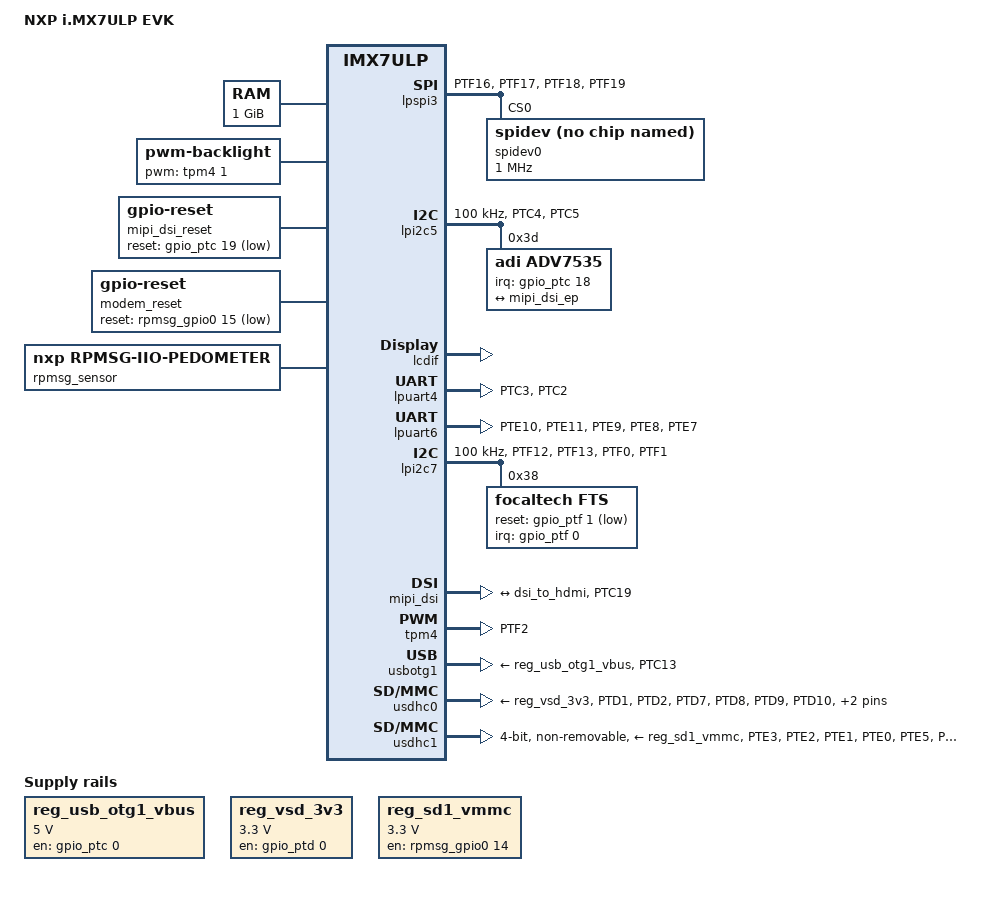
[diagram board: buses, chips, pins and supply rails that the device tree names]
// SPDX-License-Identifier: GPL-2.0+
/*
 * Copyright 2016 Freescale Semiconductor, Inc.
 * Copyright 2017-2018 NXP
 *   Dong Aisheng <aisheng.dong@nxp.com>
 */

/dts-v1/;

#include "imx7ulp.dtsi"
#include <dt-bindings/input/input.h>

/ {
	model = "NXP i.MX7ULP EVK";
	compatible = "fsl,imx7ulp-evk", "fsl,imx7ulp";

	aliases {
		gpio4 = &rpmsg_gpio0;
		gpio5 = &rpmsg_gpio1;
	};

	chosen {
		stdout-path = &lpuart4;
	};

	memory@60000000 {
		device_type = "memory";
		reg = <0x60000000 0x40000000>;
	};

	reserved-memory {
		#address-cells = <1>;
		#size-cells = <1>;
		ranges;

		rsc_table: rsc-table@1fff8000{
			reg = <0x1fff8000 0x1000>;
			no-map;
		};

		vdev0vring0: vdev0vring0@9ff00000 {
			reg = <0x9ff00000 0x8000>;
			no-map;
		};
		vdev0vring1: vdev0vring1@9ff08000 {
			reg = <0x9ff08000 0x8000>;
			no-map;
		};
		vdev1vring0: vdev1vring0@9ff10000 {
			reg = <0x9ff10000 0x8000>;
			no-map;
		};
		vdev1vring1: vdev1vring1@9ff18000 {
			reg = <0x9ff18000 0x8000>;
			no-map;
		};
		vdev1vring3 {
			reg = <0x9ff20000 0xe0000>;
			no-map;
		};
	};

	backlight {
		compatible = "pwm-backlight";
		pwms = <&tpm4 1 50000 0>;
		brightness-levels = <0 20 25 30 35 40 100>;
		default-brightness-level = <6>;
		status = "okay";
	};

	mipi_dsi_reset: mipi-dsi-reset {
		compatible = "gpio-reset";
		reset-gpios = <&gpio_ptc 19 GPIO_ACTIVE_LOW>;
		reset-delay-us = <1000>;
		#reset-cells = <0>;
	};

	modem_reset: modem-reset {
		compatible = "gpio-reset";
		reset-gpios = <&rpmsg_gpio0 15 GPIO_ACTIVE_LOW>;
		reset-delay-us = <1000>;
		#reset-cells = <0>;
	};

	pf1550-rpmsg {
		compatible = "fsl,pf1550-rpmsg";
		sw1_reg: SW1 {
				regulator-name = "SW1";
				regulator-min-microvolt = <600000>;
				regulator-max-microvolt = <1387500>;
				regulator-boot-on;
				regulator-always-on;
		};

		sw2_reg: SW2 {
				regulator-name = "SW2";
				regulator-min-microvolt = <600000>;
				regulator-max-microvolt = <1387500>;
				regulator-boot-on;
				regulator-always-on;
		};

		sw3_reg: SW3 {
				regulator-name = "SW3";
				regulator-min-microvolt = <1800000>;
				regulator-max-microvolt = <3300000>;
				regulator-boot-on;
				regulator-always-on;
		};

		vref_reg: VREFDDR {
				regulator-name = "VREFDDR";
				regulator-min-microvolt = <1200000>;
				regulator-max-microvolt = <1200000>;
				regulator-boot-on;
				regulator-always-on;
		};

		vldo1_reg: LDO1 {
				regulator-name = "LDO1";
				regulator-min-microvolt = <750000>;
				regulator-max-microvolt = <3300000>;
				regulator-always-on;
		};

		vldo2_reg: LDO2 {
				regulator-name = "LDO2";
				regulator-min-microvolt = <1800000>;
				regulator-max-microvolt = <3300000>;
				regulator-always-on;
		};

		vldo3_reg: LDO3 {
				regulator-name = "LDO3";
				regulator-min-microvolt = <750000>;
				regulator-max-microvolt = <3300000>;
				regulator-always-on;
		};
	};

	regulators {
		compatible = "simple-bus";
		#address-cell = <1>;
		#size-cells = <0>;

		reg_usb_otg1_vbus: regulator-usb-otg1-vbus {
			compatible = "regulator-fixed";
			pinctrl-names = "default", "sleep";
			pinctrl-0 = <&pinctrl_usbotg1_vbus>;
			pinctrl-1 = <&pinctrl_usbotg1_vbus>;
			regulator-name = "usb_otg1_vbus";
			regulator-min-microvolt = <5000000>;
			regulator-max-microvolt = <5000000>;
			gpio = <&gpio_ptc 0 GPIO_ACTIVE_HIGH>;
			enable-active-high;
		};

		reg_vsd_3v3: regulator-vsd-3v3 {
			compatible = "regulator-fixed";
			regulator-name = "VSD_3V3";
			regulator-min-microvolt = <3300000>;
			regulator-max-microvolt = <3300000>;
			pinctrl-names = "default";
			pinctrl-0 = <&pinctrl_usdhc0_rst>;
			gpio = <&gpio_ptd 0 GPIO_ACTIVE_HIGH>;
			off-on-delay-us = <20000>;
			enable-active-high;
		};

		reg_sd1_vmmc: sd1_regulator {
			compatible = "regulator-fixed";
			regulator-name = "WLAN_EN";
			regulator-min-microvolt = <3300000>;
			regulator-max-microvolt = <3300000>;
			gpio = <&rpmsg_gpio0 14 GPIO_ACTIVE_HIGH>;
			startup-delay-us = <100>;
			off-on-delay-us = <20000>;
			enable-active-high;
		};
	};

	rpmsg_gpio0: rpmsg-gpio0 {
		compatible = "fsl,imx-rpmsg-gpio";
		port_idx = <0>;
		gpio-controller;
		#gpio-cells = <2>;
		#interrupt-cells = <2>;
		interrupt-controller;
		interrupt-parent = <&rpmsg_gpio0>;
		status = "okay";
	};

	rpmsg_gpio1: rpmsg-gpio1 {
		compatible = "fsl,imx-rpmsg-gpio";
		port_idx = <1>;
		gpio-controller;
		#gpio-cells = <2>;
		#interrupt-cells = <2>;
		interrupt-controller;
		interrupt-parent = <&rpmsg_gpio1>;
		status = "okay";
	};

	rpmsg_keys: rpmsg-keys {
		compatible = "fsl,rpmsg-keys";

		volume-up {
			label = "Volume Up";
			linux,code = <KEY_VOLUMEUP>;
		};

		volume-down {
			label = "Volume Down";
			linux,code = <KEY_VOLUMEDOWN>;
		};

		power-on {
			label = "PowerOn";
			linux,code = <KEY_POWER>;
			rpmsg-key,wakeup;
		};
	};

	rpmsg_sensor: rpmsg-sensor {
		compatible = "nxp,rpmsg-iio-pedometer", "fsl,rpmsg-input";
	};

	rpmsg_audio: rpmsg_audio {
		compatible = "fsl,imx7ulp-rpmsg-audio";
		model = "wm8960-audio";
		fsl,rpmsg-out;
		fsl,rpmsg-in;
		audio-routing =
			"Headphone Jack", "HP_L",
			"Headphone Jack", "HP_R",
			"Ext Spk", "SPK_LP",
			"Ext Spk", "SPK_LN",
			"Ext Spk", "SPK_RP",
			"Ext Spk", "SPK_RN",
			"LINPUT2", "Mic Jack",
			"LINPUT3", "Mic Jack",
			"RINPUT1", "Main MIC",
			"RINPUT2", "Main MIC",
			"Mic Jack", "MICB",
			"Main MIC", "MICB",
			"Playback", "CPU-Playback",
			"CPU-Capture", "Capture";
	};

	imx7ulp-cm4 {
		compatible = "fsl,imx7ulp-cm4";
		ipc-only;
		rsc-da=<0x1fff8000>;
		mbox-names = "tx", "rx", "rxdb";
		mboxes = <&mu 0 1
			  &mu 1 1
			  &mu 3 1>;
		memory-region = <&vdev0vring0>, <&vdev0vring1>,
				<&vdev1vring0>, <&vdev1vring1>, <&rsc_table>;
	};
};

&cpu0 {
	cpu-supply= <&sw1_reg>;
};

&lpspi3 {
	fsl,spi-num-chipselects = <1>;
	pinctrl-names = "default", "sleep";
	pinctrl-0 = <&pinctrl_lpspi3>;
	pinctrl-1 = <&pinctrl_lpspi3>;
	status = "okay";

	spidev0: spi@0 {
		reg = <0>;
		compatible = "rohm,dh2228fv";
		spi-max-frequency = <1000000>;
	};
};

&lpi2c5 {
	#address-cells = <1>;
	#size-cells = <0>;
	clock-frequency = <100000>;
	pinctrl-names = "default", "sleep";
	pinctrl-0 = <&pinctrl_lpi2c5>;
	pinctrl-1 = <&pinctrl_lpi2c5>;
	status = "okay";

	adv7535: adv7535@3d {
		compatible = "adi,adv7535";
		reg = <0x3d>; /* PD pin is low */
		pinctrl-names = "default";
		pinctrl-0 = <&pinctrl_dsi_hdmi>;
		interrupt-parent = <&gpio_ptc>;
		interrupts = <18 IRQ_TYPE_EDGE_FALLING>;
		video-mode = <1>; /*
				   * Only support CEA modes.
				   * Reference mxc_edid.c
				   */
		dsi-traffic-mode = <0>;
		bpp = <24>;
		status = "disabled";
	};
};

&lcdif {
	status = "okay";
	disp-dev = "mipi_dsi_northwest";
	display = <&display0>;

	display0: display@0 {
		bits-per-pixel = <16>;
		bus-width = <24>;

		display-timings {
			native-mode = <&timing0>;
			timing0: timing0 {
			clock-frequency = <9200000>;
			hactive = <480>;
			vactive = <272>;
			hfront-porch = <8>;
			hback-porch = <4>;
			hsync-len = <41>;
			vback-porch = <2>;
			vfront-porch = <4>;
			vsync-len = <10>;

			hsync-active = <0>;
			vsync-active = <0>;
			de-active = <1>;
			pixelclk-active = <0>;
			};
		};
	};
};

&lpuart4 {
	pinctrl-names = "default", "sleep";
	pinctrl-0 = <&pinctrl_lpuart4>;
	pinctrl-1 = <&pinctrl_lpuart4>;
	status = "okay";
};

&lpuart6 { /* BT */
	pinctrl-names = "default", "sleep";
	pinctrl-0 = <&pinctrl_lpuart6>;
	pinctrl-1 = <&pinctrl_lpuart6>;
	resets = <&modem_reset>;
	status = "okay";
};

&lpuart7 { /* Uart test */
	pinctrl-names = "default", "sleep";
	pinctrl-0 = <&pinctrl_lpuart7>;
	pinctrl-1 = <&pinctrl_lpuart7>;
	status = "disabled";
};

&lpi2c7 {
	#address-cells = <1>;
	#size-cells = <0>;
	clock-frequency = <100000>;
	pinctrl-names = "default", "sleep";
	pinctrl-0 = <&pinctrl_lpi2c7 &pinctrl_touch_io>;
	pinctrl-1 = <&pinctrl_lpi2c7 &pinctrl_touch_io>;
	status = "okay";

	focaltech@38 {
		compatible = "focaltech,fts";
		reg = <0x38>;
		interrupt-parent = <&gpio_ptf>;
		interrupts = <0 0x2>;
		focaltech,panel-type = <FT5426>;
		focaltech,reset-gpio = <&gpio_ptf 1 0x1>;
		focaltech,irq-gpio = <&gpio_ptf 0 0x2>;
		focaltech,max-touch-number = <5>;
		focaltech,display-coords =  <0 0 480 854>;

		focaltech,have-key;
		focaltech,key-number = <3>;
		focaltech,keys = <139 102 158>;
		focaltech,key-y-coord = <2000>;
		focaltech,key-x-coords = <200 600 800>;
	};
};

&adv7535 {
	status = "okay";

	port {
		dsi_to_hdmi: endpoint {
			remote-endpoint = <&mipi_dsi_ep>;
		};
	};
};

&mipi_dsi {
	pinctrl-names = "default", "sleep";
	pinctrl-0 = <&pinctrl_mipi_dsi_reset>;
	pinctrl-1 = <&pinctrl_mipi_dsi_reset>;
	lcd_panel = "TRULY-WVGA-TFT3P5581E";
	resets = <&mipi_dsi_reset>;
	status = "okay";

	port {
		mipi_dsi_ep: endpoint {
			remote-endpoint = <&dsi_to_hdmi>;
		};
	};
};

&tpm4 {
	pinctrl-names = "default";
	pinctrl-0 = <&pinctrl_pwm0>;
	status = "okay";
};

&usbotg1 {
	vbus-supply = <&reg_usb_otg1_vbus>;
	pinctrl-names = "default", "sleep";
	pinctrl-0 = <&pinctrl_usbotg1_id>;
	pinctrl-1 = <&pinctrl_usbotg1_id>;
	srp-disable;
	hnp-disable;
	adp-disable;
	disable-over-current;
	status = "okay";
};

&usbphy1 {
	fsl,tx-d-cal = <106>;
};

&usdhc0 {
	assigned-clocks = <&scg1 IMX7ULP_CLK_APLL_PFD1>, <&pcc2 IMX7ULP_CLK_USDHC0>;
	assigned-clock-parents = <0>, <&scg1 IMX7ULP_CLK_APLL_PFD1>;
	assigned-clock-rates = <0>, <352800000>;
	pinctrl-names = "default", "state_100mhz", "state_200mhz", "sleep";
	pinctrl-0 = <&pinctrl_usdhc0>;
	pinctrl-1 = <&pinctrl_usdhc0>;
	pinctrl-2 = <&pinctrl_usdhc0>;
	pinctrl-3 = <&pinctrl_usdhc0>;
	fsl,delay-line = <15>;
	cd-gpios = <&gpio_ptc 10 GPIO_ACTIVE_LOW>;
	vmmc-supply = <&reg_vsd_3v3>;
	vqmmc-supply = <&vldo2_reg>;
	status = "okay";
};

&usdhc1 {
	assigned-clocks = <&scg1 IMX7ULP_CLK_APLL_PFD1>, <&pcc2 IMX7ULP_CLK_USDHC1>;
	assigned-clock-parents = <0>, <&scg1 IMX7ULP_CLK_APLL_PFD1>;
	assigned-clock-rates = <0>, <352800000>;
	pinctrl-names = "default", "sleep";
	pinctrl-0 = <&pinctrl_usdhc1>;
	pinctrl-1 = <&pinctrl_usdhc1>;
	bus-width = <4>;
	no-1-8-v;
	vmmc-supply = <&reg_sd1_vmmc>;
	keep-power-in-suspend;
	non-removable;
	status = "okay";
};

&iomuxc1 {
	pinctrl_lpi2c5: lpi2c5grp {
		fsl,pins = <
			IMX7ULP_PAD_PTC4__LPI2C5_SCL	0x27
			IMX7ULP_PAD_PTC5__LPI2C5_SDA	0x27
		>;
	};

	pinctrl_mipi_dsi_reset: mipi_dsi_reset_grp {
		fsl,pins = <
			IMX7ULP_PAD_PTC19__PTC19	0x20003
		>;
	};

	pinctrl_lpuart4: lpuart4grp {
		fsl,pins = <
			IMX7ULP_PAD_PTC3__LPUART4_RX	0x3
			IMX7ULP_PAD_PTC2__LPUART4_TX	0x3
		>;
		bias-pull-up;
	};

	pinctrl_lpuart6: lpuart6grp {
		fsl,pins = <
			IMX7ULP_PAD_PTE10__LPUART6_TX	0x3
			IMX7ULP_PAD_PTE11__LPUART6_RX	0x3
			IMX7ULP_PAD_PTE9__LPUART6_RTS_B	0x3
			IMX7ULP_PAD_PTE8__LPUART6_CTS_B	0x3
			IMX7ULP_PAD_PTE7__PTE7		0x20000	/* BT_REG_ON */
		>;
	};

	pinctrl_lpuart7: lpuart7grp {
		fsl,pins = <
			IMX7ULP_PAD_PTF14__LPUART7_TX		0x3
			IMX7ULP_PAD_PTF15__LPUART7_RX		0x3
			IMX7ULP_PAD_PTF13__LPUART7_RTS_B	0x3
			IMX7ULP_PAD_PTF12__LPUART7_CTS_B	0x3
		>;
	};

	pinctrl_lpi2c7: lpi2c7grp {
		fsl,pins = <
			IMX7ULP_PAD_PTF12__LPI2C7_SCL	0x27
			IMX7ULP_PAD_PTF13__LPI2C7_SDA	0x27
		>;
	};

	pinctrl_touch_io: touchiogrp {
		fsl,pins = <
			IMX7ULP_PAD_PTF0__PTF0		0x10043
			IMX7ULP_PAD_PTF1__PTF1		0x20043
		>;
	};

	pinctrl_pwm0: pwm0grp {
		fsl,pins = <
			IMX7ULP_PAD_PTF2__TPM4_CH1	0x2
		>;
	};

	pinctrl_lpspi3: lpspi3grp {
		fsl,pins = <
			IMX7ULP_PAD_PTF16__LPSPI3_SIN	0x0
			IMX7ULP_PAD_PTF17__LPSPI3_SOUT	0x0
			IMX7ULP_PAD_PTF18__LPSPI3_SCK	0x0
			IMX7ULP_PAD_PTF19__LPSPI3_PCS0	0x0
		>;
	};

	pinctrl_usbotg1_vbus: otg1vbusgrp {
		fsl,pins = <
			IMX7ULP_PAD_PTC0__PTC0		0x20000
		>;
	};

	pinctrl_usbotg1_id: otg1idgrp {
		fsl,pins = <
			IMX7ULP_PAD_PTC13__USB0_ID	0x10003
		>;
	};

	pinctrl_usdhc0: usdhc0grp {
		fsl,pins = <
			IMX7ULP_PAD_PTD1__SDHC0_CMD	0x43
			IMX7ULP_PAD_PTD2__SDHC0_CLK	0x40
			IMX7ULP_PAD_PTD7__SDHC0_D3	0x43
			IMX7ULP_PAD_PTD8__SDHC0_D2	0x43
			IMX7ULP_PAD_PTD9__SDHC0_D1	0x43
			IMX7ULP_PAD_PTD10__SDHC0_D0	0x43
			IMX7ULP_PAD_PTC10__PTC10	0x3	/* CD */
		>;
	};

	pinctrl_usdhc0_8bit: usdhc0grp_8bit {
		fsl,pins = <
			IMX7ULP_PAD_PTD1__SDHC0_CMD     0x43
			IMX7ULP_PAD_PTD2__SDHC0_CLK     0x10042
			IMX7ULP_PAD_PTD3__SDHC0_D7      0x43
			IMX7ULP_PAD_PTD4__SDHC0_D6      0x43
			IMX7ULP_PAD_PTD5__SDHC0_D5      0x43
			IMX7ULP_PAD_PTD6__SDHC0_D4      0x43
			IMX7ULP_PAD_PTD7__SDHC0_D3      0x43
			IMX7ULP_PAD_PTD8__SDHC0_D2      0x43
			IMX7ULP_PAD_PTD9__SDHC0_D1      0x43
			IMX7ULP_PAD_PTD10__SDHC0_D0     0x43
			IMX7ULP_PAD_PTD11__SDHC0_DQS    0x42
		>;
	};

	pinctrl_usdhc0_rst: usdhc0-gpio-rst-grp {
		fsl,pins = <
			IMX7ULP_PAD_PTD0__PTD0		0x3
		>;
	};

	pinctrl_usdhc1: usdhc1grp {
		fsl,pins = <
			IMX7ULP_PAD_PTE3__SDHC1_CMD     0x43
			IMX7ULP_PAD_PTE2__SDHC1_CLK     0x10042
			IMX7ULP_PAD_PTE1__SDHC1_D0      0x43
			IMX7ULP_PAD_PTE0__SDHC1_D1      0x43
			IMX7ULP_PAD_PTE5__SDHC1_D2      0x43
			IMX7ULP_PAD_PTE4__SDHC1_D3      0x43
		>;
	};

	pinctrl_usdhc1_rst: usdhc1grp_rst {
		fsl,pins = <
			IMX7ULP_PAD_PTE11__PTE11        0x20000 /* USDHC1 RST */
			IMX7ULP_PAD_PTE13__PTE13        0x10003 /* USDHC1 CD */
			IMX7ULP_PAD_PTE12__PTE12        0x10003 /* USDHC1 WP */
			IMX7ULP_PAD_PTE14__SDHC1_VS     0x43    /* USDHC1 VSEL */
		>;
	};

	pinctrl_dsi_hdmi: dsi_hdmi_grp {
		fsl,pins = <
			IMX7ULP_PAD_PTC18__PTC18	0x10003	/* DSI_HDMI_INT */
		>;
	};
};
